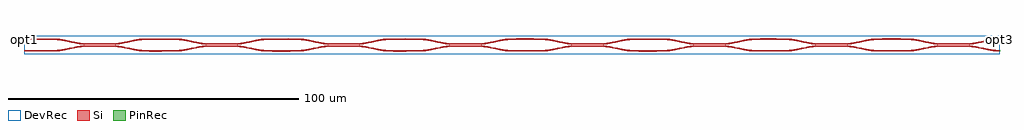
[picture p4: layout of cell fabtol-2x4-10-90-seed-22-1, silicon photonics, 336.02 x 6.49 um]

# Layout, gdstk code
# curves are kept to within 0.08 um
import gdstk
lib = gdstk.Library(unit=1e-6, precision=1e-09)
def R(c, l, rs):  # rectangles x0, y0, x1, y1
    for r in rs: c.add(gdstk.rectangle(r[:2], r[2:], *l))
def P(c, l, *ps):  # polygons
    for p in ps: c.add(gdstk.Polygon(p, *l))
Si = (1, 0)
PinRec = (1, 10)
DevRec = (68, 0)

layer_1_0_phase_sec_3_47 = lib.new_cell('layer-1_0_phase_sec_3$47')
P(layer_1_0_phase_sec_3_47, Si, [(2.251,-0.237),(0,-0.225),(0,0.225),(10,0.225),(10,-0.225)])

layer_2_0_phase_sec_0_47 = lib.new_cell('layer-2_0_phase_sec_0$47')
P(layer_2_0_phase_sec_0_47, Si, [(5.965,-0.251),(0,-0.225),(0,0.225),(10,0.225),(10,-0.225)])

layer_0_0_phase_sec_0_47 = lib.new_cell('layer-0_0_phase_sec_0$47')
P(layer_0_0_phase_sec_0_47, Si, [(2.299,-0.238),(0,-0.225),(0,0.225),(10,0.225),(10,-0.225)])

layer_3_0_phase_sec_3_47 = lib.new_cell('layer-3_0_phase_sec_3$47')
P(layer_3_0_phase_sec_3_47, Si, [(2.184,-0.23),(0,-0.225),(0,0.225),(10,0.225),(10,-0.225)])

layer_1_0_phase_sec_2_47 = lib.new_cell('layer-1_0_phase_sec_2$47')
P(layer_1_0_phase_sec_2_47, Si, [(5.268,-0.242),(0,-0.225),(0,0.225),(10,0.225),(10,-0.225)])

layer_2_0_phase_sec_1_47 = lib.new_cell('layer-2_0_phase_sec_1$47')
P(layer_2_0_phase_sec_1_47, Si, [(1.078,-0.229),(0,-0.225),(0,0.225),(10,0.225),(10,-0.225)])

layer_0_0_phase_sec_1_47 = lib.new_cell('layer-0_0_phase_sec_1$47')
P(layer_0_0_phase_sec_1_47, Si, [(3.155,-0.229),(0,-0.225),(0,0.225),(10,0.225),(10,-0.225)])

layer_2_0_phase_sec_2_47 = lib.new_cell('layer-2_0_phase_sec_2$47')
P(layer_2_0_phase_sec_2_47, Si, [(4.449,-0.236),(0,-0.225),(0,0.225),(10,0.225),(10,-0.225)])

dc_arm_up_47 = lib.new_cell('dc_arm_up$47')
R(dc_arm_up_47, Si, [(12,0.1,20,0.55)])
P(dc_arm_up_47, Si, [(12,0.1),(10.861,0.137),(9.344,0.292),(2.966,1.532),(1.481,1.712),(0,1.775),(0,2.225),(1.139,2.188),(2.656,2.033),(9.034,0.793),(10.519,0.613),(12,0.55)],
  [(20,0.1),(20,0.55),(21.481,0.613),(22.966,0.793),(29.344,2.033),(30.861,2.188),(32,2.225),(32,1.775),(30.519,1.712),(29.034,1.532),(22.656,0.292),(21.139,0.137)])

dc_arm_down_47 = lib.new_cell('dc_arm_down$47')
R(dc_arm_down_47, Si, [(12,-0.55,20,-0.1)])
P(dc_arm_down_47, Si, [(0,-2.225),(0,-1.775),(1.481,-1.712),(2.966,-1.532),(9.344,-0.292),(10.861,-0.137),(12,-0.1),(12,-0.55),(10.519,-0.613),(9.034,-0.793),(2.656,-2.033),(1.139,-2.188)],
  [(32,-2.225),(30.861,-2.188),(29.344,-2.033),(22.966,-0.793),(21.481,-0.613),(20,-0.55),(20,-0.1),(21.139,-0.137),(22.656,-0.292),(29.034,-1.532),(30.519,-1.712),(32,-1.775)])

dc_47 = lib.new_cell('dc$47')
dc_47.add(gdstk.Reference(dc_arm_up_47, (0,0)))
dc_47.add(gdstk.Reference(dc_arm_down_47, (0,0)))

layer_2_0_phase_sec_3_47 = lib.new_cell('layer-2_0_phase_sec_3$47')
P(layer_2_0_phase_sec_3_47, Si, [(1.578,-0.243),(0,-0.225),(0,0.225),(10,0.225),(10,-0.225)])

layer_0_0_phase_sec_2_47 = lib.new_cell('layer-0_0_phase_sec_2$47')
P(layer_0_0_phase_sec_2_47, Si, [(4.311,-0.237),(0,-0.225),(0,0.225),(10,0.225),(10,-0.225)])

layer_3_0_phase_sec_0_47 = lib.new_cell('layer-3_0_phase_sec_0$47')
P(layer_3_0_phase_sec_0_47, Si, [(4.196,-0.248),(0,-0.225),(0,0.225),(10,0.225),(10,-0.225)])

layer_0_0_phase_sec_3_47 = lib.new_cell('layer-0_0_phase_sec_3$47')
P(layer_0_0_phase_sec_3_47, Si, [(2.178,-0.242),(0,-0.225),(0,0.225),(10,0.225),(10,-0.225)])

layer_3_0_phase_sec_1_47 = lib.new_cell('layer-3_0_phase_sec_1$47')
P(layer_3_0_phase_sec_1_47, Si, [(5.66,-0.23),(0,-0.225),(0,0.225),(10,0.225),(10,-0.225)])

layer_1_0_phase_sec_0_47 = lib.new_cell('layer-1_0_phase_sec_0$47')
P(layer_1_0_phase_sec_0_47, Si, [(7.032,-0.242),(0,-0.225),(0,0.225),(10,0.225),(10,-0.225)])

layer_1_0_phase_sec_1_47 = lib.new_cell('layer-1_0_phase_sec_1$47')
P(layer_1_0_phase_sec_1_47, Si, [(1.523,-0.238),(0,-0.225),(0,0.225),(10,0.225),(10,-0.225)])

layer_3_0_phase_sec_2_47 = lib.new_cell('layer-3_0_phase_sec_2$47')
P(layer_3_0_phase_sec_2_47, Si, [(1.556,-0.249),(0,-0.225),(0,0.225),(10,0.225),(10,-0.225)])

fabtol_2x4_10_90_seed_22 = lib.new_cell('fabtol-2x4-10-90-seed-22-1')
R(fabtol_2x4_10_90_seed_22, DevRec, [(0,-1,336,5.494)])
fabtol_2x4_10_90_seed_22.add(gdstk.FlexPath([(0.01,4.243),(-0.01,4.243)], 0.45, ends="flush", simple_path=True, layer=1, datatype=10))  # PinRec
fabtol_2x4_10_90_seed_22.add(gdstk.FlexPath([(335.99,0.243),(336.01,0.243)], 0.45, ends="flush", simple_path=True, layer=1, datatype=10))  # PinRec
fabtol_2x4_10_90_seed_22.add(gdstk.FlexPath([(335.99,4.243),(336.01,4.243)], 0.45, ends="flush", simple_path=True, layer=1, datatype=10))  # PinRec
fabtol_2x4_10_90_seed_22.add(gdstk.Reference(layer_1_0_phase_sec_3_47, (126,0.243)))
fabtol_2x4_10_90_seed_22.add(gdstk.Reference(layer_2_0_phase_sec_0_47, (168,4.243)))
fabtol_2x4_10_90_seed_22.add(gdstk.Reference(layer_0_0_phase_sec_0_47, (0,4.243)))
fabtol_2x4_10_90_seed_22.add(gdstk.Reference(layer_3_0_phase_sec_3_47, (294,0.243)))
fabtol_2x4_10_90_seed_22.add(gdstk.Reference(layer_1_0_phase_sec_2_47, (126,4.243)))
fabtol_2x4_10_90_seed_22.add(gdstk.Reference(layer_2_0_phase_sec_1_47, (168,0.243)))
fabtol_2x4_10_90_seed_22.add(gdstk.Reference(layer_0_0_phase_sec_1_47, (0,0.243)))
fabtol_2x4_10_90_seed_22.add(gdstk.Reference(layer_2_0_phase_sec_2_47, (210,4.243)))
fabtol_2x4_10_90_seed_22.add(gdstk.Reference(dc_47, (10,2.243)))
fabtol_2x4_10_90_seed_22.add(gdstk.Reference(dc_47, (52,2.243)))
fabtol_2x4_10_90_seed_22.add(gdstk.Reference(dc_47, (94,2.243)))
fabtol_2x4_10_90_seed_22.add(gdstk.Reference(dc_47, (136,2.243)))
fabtol_2x4_10_90_seed_22.add(gdstk.Reference(dc_47, (178,2.243)))
fabtol_2x4_10_90_seed_22.add(gdstk.Reference(dc_47, (220,2.243)))
fabtol_2x4_10_90_seed_22.add(gdstk.Reference(dc_47, (262,2.243)))
fabtol_2x4_10_90_seed_22.add(gdstk.Reference(dc_47, (304,2.243)))
fabtol_2x4_10_90_seed_22.add(gdstk.Reference(layer_2_0_phase_sec_3_47, (210,0.243)))
fabtol_2x4_10_90_seed_22.add(gdstk.Reference(layer_0_0_phase_sec_2_47, (42,4.243)))
fabtol_2x4_10_90_seed_22.add(gdstk.Reference(layer_3_0_phase_sec_0_47, (252,4.243)))
fabtol_2x4_10_90_seed_22.add(gdstk.Reference(layer_0_0_phase_sec_3_47, (42,0.243)))
fabtol_2x4_10_90_seed_22.add(gdstk.Reference(layer_3_0_phase_sec_1_47, (252,0.243)))
fabtol_2x4_10_90_seed_22.add(gdstk.Reference(layer_1_0_phase_sec_0_47, (84,4.243)))
fabtol_2x4_10_90_seed_22.add(gdstk.Reference(layer_1_0_phase_sec_1_47, (84,0.243)))
fabtol_2x4_10_90_seed_22.add(gdstk.Reference(layer_3_0_phase_sec_2_47, (294,4.243)))
fabtol_2x4_10_90_seed_22.add(gdstk.Label('opt1', (0,4.243), layer=1, texttype=10))
fabtol_2x4_10_90_seed_22.add(gdstk.Label('opt3', (336,4.243), layer=1, texttype=10))
fabtol_2x4_10_90_seed_22.add(gdstk.Label('opt4', (336,0.243), layer=1, texttype=10))

lib.write_gds('fabtol-2x4-10-90-seed-22-1.gds')
